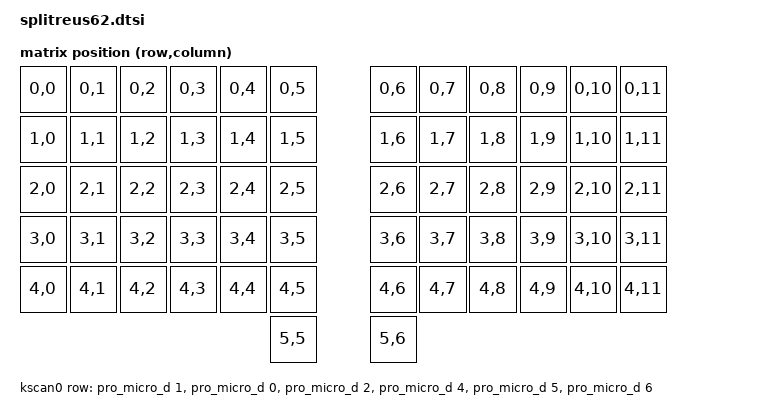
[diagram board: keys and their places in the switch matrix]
/*
 * Copyright (c) 2020 Derek Schmell
 *
 * SPDX-License-Identifier: MIT
 */

#include <dt-bindings/zmk/matrix_transform.h>

/ {
	chosen {
		zmk,kscan = &kscan0;
		zmk,matrix_transform = &default_transform;
	};

	default_transform: keymap_transform_0 {
		compatible = "zmk,matrix-transform";
		columns = <12>;
		rows = <6>;
// | SW0 | SW5 | SW10 | SW15 | SW20 | SW25		             | SW25 | SW20 | SW15 | SW10 | SW5 | SW1 |
// | SW1 | SW6 | SW11 | SW16 | SW21 | SW26		             | SW26 | SW21 | SW16 | SW11 | SW6 | SW2 |
// | SW2 | SW7 | SW12 | SW17 | SW22 | SW27		             | SW27 | SW22 | SW17 | SW12 | SW7 | SW3 |
// | SW3 | SW8 | SW13 | SW18 | SW23 | SW28		             | SW28 | SW23 | SW18 | SW13 | SW8 | SW4 |
// | SW4 | SW9 | SW14 | SW19 | SW24 | SW29                   | SW29 | SW24 | SW19 | SW14 | SW9 | SW5 |
//                                    SW30                   | SW30
		map = <
RC(0,0) RC(0,1) RC(0,2) RC(0,3) RC(0,4) RC(0,5)                 RC(0,6) RC(0,7) RC(0,8) RC(0,9) RC(0,10) RC(0,11)
RC(1,0) RC(1,1) RC(1,2) RC(1,3) RC(1,4) RC(1,5)                 RC(1,6) RC(1,7) RC(1,8) RC(1,9) RC(1,10) RC(1,11)
RC(2,0) RC(2,1) RC(2,2) RC(2,3) RC(2,4) RC(2,5)                 RC(2,6) RC(2,7) RC(2,8) RC(2,9) RC(2,10) RC(2,11)
RC(3,0) RC(3,1) RC(3,2) RC(3,3) RC(3,4) RC(3,5)                 RC(3,6) RC(3,7) RC(3,8) RC(3,9) RC(3,10) RC(3,11)
RC(4,0) RC(4,1) RC(4,2) RC(4,3) RC(4,4) RC(4,5)                 RC(4,6) RC(4,7) RC(4,8) RC(4,9) RC(4,10) RC(4,11)
                                        RC(5,5)                 RC(5,6)
		>;
	};

	kscan0: kscan {
		compatible = "zmk,kscan-gpio-matrix";
		label = "KSCAN";

		diode-direction = "row2col";
		row-gpios
			= <&pro_micro_d 1 GPIO_ACTIVE_HIGH >
			, <&pro_micro_d 0 GPIO_ACTIVE_HIGH>
			, <&pro_micro_d 2 GPIO_ACTIVE_HIGH>
			, <&pro_micro_d 4 GPIO_ACTIVE_HIGH>
			, <&pro_micro_d 5 GPIO_ACTIVE_HIGH>
			, <&pro_micro_d 6 GPIO_ACTIVE_HIGH>
			;
		
	};
};
